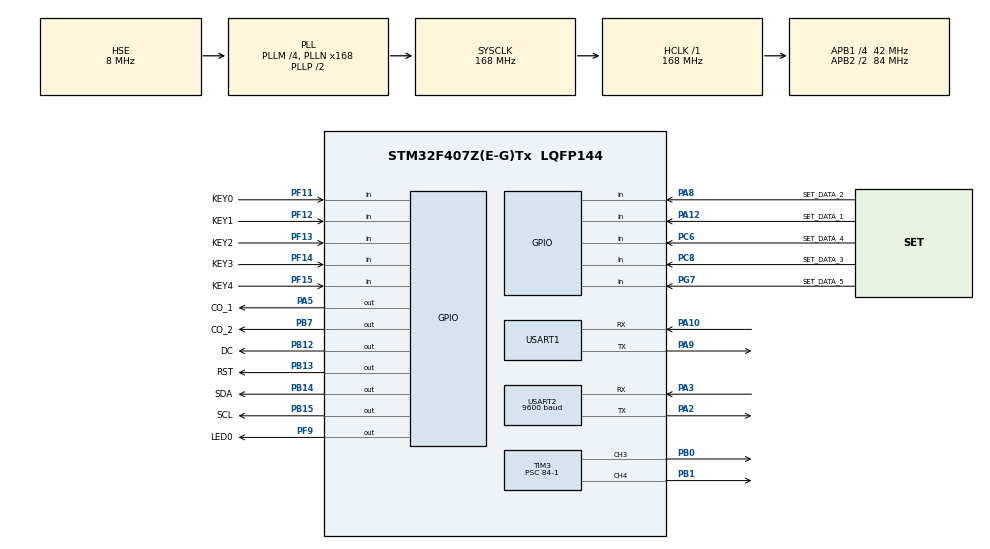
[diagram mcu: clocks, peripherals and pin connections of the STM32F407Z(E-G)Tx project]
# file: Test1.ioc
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Mcu.Family=STM32F4
Mcu.Name=STM32F407Z(E-G)Tx
Mcu.Package=LQFP144
NVIC.PriorityGroup=NVIC_PRIORITYGROUP_4
NVIC.TIM4_IRQn=true\:0\:0\:false\:false\:true\:true\:true
NVIC.TIM8_TRG_COM_TIM14_IRQn=true\:0\:0\:false\:false\:true\:true\:true
NVIC.USART1_IRQn=true\:0\:0\:false\:false\:true\:true\:true
NVIC.USART2_IRQn=true\:0\:0\:false\:false\:true\:true\:true
PA10.Mode=Asynchronous
PA10.Signal=USART1_RX
PA12.GPIO_Label=SET_DATA_1
PA12.GPIO_PuPd=GPIO_PULLUP
PA12.Signal=GPIO_Input
PA13.Mode=Serial_Wire
PA13.Signal=SYS_JTMS-SWDIO
PA14.Mode=Serial_Wire
PA14.Signal=SYS_JTCK-SWCLK
PA2.Mode=Asynchronous
PA2.Signal=USART2_TX
PA3.Mode=Asynchronous
PA3.Signal=USART2_RX
PA5.GPIO_Label=CO_1
PA5.GPIO_PuPd=GPIO_PULLDOWN
PA5.Signal=GPIO_Output
PA8.GPIO_Label=SET_DATA_2
PA8.GPIO_PuPd=GPIO_PULLUP
PA8.Signal=GPIO_Input
PA9.Mode=Asynchronous
PA9.Signal=USART1_TX
PB0.Signal=S_TIM3_CH3
PB1.Signal=S_TIM3_CH4
PB12.GPIO_Label=DC
PB12.GPIO_Speed=GPIO_SPEED_FREQ_HIGH
PB12.Signal=GPIO_Output
PB13.GPIO_Label=RST
PB13.GPIO_Speed=GPIO_SPEED_FREQ_HIGH
PB13.Signal=GPIO_Output
PB14.GPIO_Label=SDA
PB14.GPIO_Speed=GPIO_SPEED_FREQ_HIGH
PB14.Signal=GPIO_Output
PB15.GPIO_Label=SCL
PB15.GPIO_Speed=GPIO_SPEED_FREQ_HIGH
PB15.Signal=GPIO_Output
PB7.GPIO_Label=CO_2
PB7.GPIO_PuPd=GPIO_PULLDOWN
PB7.Signal=GPIO_Output
PC6.GPIO_Label=SET_DATA_4
PC6.GPIO_PuPd=GPIO_PULLUP
PC6.Signal=GPIO_Input
PC8.GPIO_Label=SET_DATA_3
PC8.GPIO_PuPd=GPIO_PULLUP
PC8.Signal=GPIO_Input
PF11.GPIO_Label=KEY0
PF11.GPIO_PuPd=GPIO_PULLUP
PF11.Signal=GPIO_Input
PF12.GPIO_Label=KEY1
PF12.GPIO_PuPd=GPIO_PULLUP
PF12.Signal=GPIO_Input
PF13.GPIO_Label=KEY2
PF13.GPIO_PuPd=GPIO_PULLUP
PF13.Signal=GPIO_Input
PF14.GPIO_Label=KEY3
PF14.GPIO_PuPd=GPIO_PULLUP
PF14.Signal=GPIO_Input
PF15.GPIO_Label=KEY4
PF15.GPIO_PuPd=GPIO_PULLUP
PF15.Signal=GPIO_Input
PF9.GPIO_Label=LED0
PF9.GPIO_PuPd=GPIO_PULLUP
PF9.PinState=GPIO_PIN_SET
PF9.Signal=GPIO_Output
PG7.GPIO_Label=SET_DATA_5
PG7.GPIO_PuPd=GPIO_PULLUP
PG7.Signal=GPIO_Input
PH0-OSC_IN.Mode=HSE-External-Oscillator
PH0-OSC_IN.Signal=RCC_OSC_IN
PH1-OSC_OUT.Mode=HSE-External-Oscillator
PH1-OSC_OUT.Signal=RCC_OSC_OUT
ProjectManager.HeapSize=0x200
ProjectManager.StackSize=0x400
ProjectManager.TargetToolchain=MDK-ARM V5
RCC.48MHZClocksFreq_Value=84000000
RCC.AHBFreq_Value=168000000
RCC.APB1CLKDivider=RCC_HCLK_DIV4
RCC.APB1Freq_Value=42000000
RCC.APB1TimFreq_Value=84000000
RCC.APB2CLKDivider=RCC_HCLK_DIV2
RCC.APB2Freq_Value=84000000
RCC.APB2TimFreq_Value=168000000
RCC.CortexFreq_Value=168000000
RCC.HCLKFreq_Value=168000000
RCC.HSE_VALUE=8000000
RCC.HSI_VALUE=16000000
RCC.LSE_VALUE=32768
RCC.PLLM=4
RCC.PLLN=168
RCC.PLLSourceVirtual=RCC_PLLSOURCE_HSE
RCC.SYSCLKFreq_VALUE=168000000
RCC.SYSCLKSource=RCC_SYSCLKSOURCE_PLLCLK
RCC.VCOOutputFreq_Value=336000000
SH.S_TIM3_CH3.0=TIM3_CH3,PWM Generation3 CH3
SH.S_TIM3_CH4.0=TIM3_CH4,PWM Generation4 CH4
TIM14.Period=1000-1
TIM14.Prescaler=84-1
TIM3.Channel-PWM\ Generation3\ CH3=TIM_CHANNEL_3
TIM3.Channel-PWM\ Generation4\ CH4=TIM_CHANNEL_4
TIM3.Period=20000-1
TIM3.Prescaler=84-1
TIM4.Period=1000
TIM4.Prescaler=8400
USART1.VirtualMode=VM_ASYNC
USART2.BaudRate=9600
USART2.VirtualMode=VM_ASYNC
VP_TIM14_VS_ClockSourceINT.Mode=Enable_Timer
VP_TIM3_VS_ClockSourceINT.Mode=Internal
VP_TIM4_VS_ClockSourceINT.Mode=Internal
board=custom

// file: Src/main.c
/* USER CODE BEGIN Header */
/**
  ******************************************************************************
  * @file           : main.c
  * @brief          : Main program body
  ******************************************************************************
  * @attention
  *
  * <h2><center>&copy; Copyright (c) 2019 STMicroelectronics.
  * All rights reserved.</center></h2>
  *
  * This software component is licensed by ST under BSD 3-Clause license,
  * the "License"; You may not use this file except in compliance with the
  * License. You may obtain a copy of the License at:
  *                        opensource.org/licenses/BSD-3-Clause
  *
  ******************************************************************************
  */
/* USER CODE END Header */

#include "main.h"
#include "tim.h"
#include "usart.h"
#include "gpio.h"

/* USER CODE BEGIN Includes */

#include "APPInteraction.h"
#include "stdio.h"
#include "Control.h"
#include "oled.h"
#include "show.h"
#include "key.h"

/* USER CODE END Includes */

/* USER CODE BEGIN PTD */

//int32_t Position_X,Position_Y;
/* USER CODE END PTD */

void SystemClock_Config(void);

int main(void)
{

  /* MCU Configuration--------------------------------------------------------*/

  /* Reset of all peripherals, Initializes the Flash interface and the Systick. */
  HAL_Init();

  /* Configure the system clock */
  SystemClock_Config();

  /* Initialize all configured peripherals */
  MX_GPIO_Init();
  MX_TIM3_Init();
  MX_TIM4_Init();
  MX_USART1_UART_Init();
  MX_TIM14_Init();
  MX_USART2_UART_Init();
  /* USER CODE BEGIN 2 */
  HAL_UART_Receive_IT(&huart2,(uint8_t *)aRxBuffer2,1);  //使能串口2接收中断，用于Openmv的数据接收
  HAL_TIM_Base_Start_IT(&htim14);  //使能TIM14中断，溢出时间为1ms
  HAL_TIM_PWM_Start(&htim3,TIM_CHANNEL_3);  //开启定时器3、通道3，频率50Hz，产生周期为20ms的脉冲，用于舵机的控制
  HAL_TIM_PWM_Start(&htim3,TIM_CHANNEL_4);  //开启定时器3、通道4，频率50Hz，产生周期为20ms的脉冲，用于舵机的控制
  APPInteractionInit();  //在线调参初始化
  OLED_Init();  //初始化OLED
  /* USER CODE END 2 */

  /* Infinite loop */
  while (1)
  {

    /* USER CODE BEGIN 3 */
      if(Ctrl) //1000Hz，主要用于舵机的控制和角度值的设定
      {
          Ctrl = 0;
          SteeringEngineControl();  //舵机控制
          SetValue();  //按键设值
          set_pitch_yaw_value();  //分别对两个舵机进行赋值

      }
      if(Show)  //100Hz，用于OLED的显示
      {
          Show = 0;
          oled_show();
      }

  }
  /* USER CODE END 3 */
}

void SystemClock_Config(void)
{
  RCC_OscInitTypeDef RCC_OscInitStruct = {0};
  RCC_ClkInitTypeDef RCC_ClkInitStruct = {0};

  /** Configure the main internal regulator output voltage
  */
  __HAL_RCC_PWR_CLK_ENABLE();
  __HAL_PWR_VOLTAGESCALING_CONFIG(PWR_REGULATOR_VOLTAGE_SCALE1);
  /** Initializes the CPU, AHB and APB busses clocks
  */
  RCC_OscInitStruct.OscillatorType = RCC_OSCILLATORTYPE_HSE;
  RCC_OscInitStruct.HSEState = RCC_HSE_ON;
  RCC_OscInitStruct.PLL.PLLState = RCC_PLL_ON;
  RCC_OscInitStruct.PLL.PLLSource = RCC_PLLSOURCE_HSE;
  RCC_OscInitStruct.PLL.PLLM = 4;
  RCC_OscInitStruct.PLL.PLLN = 168;
  RCC_OscInitStruct.PLL.PLLP = RCC_PLLP_DIV2;
  RCC_OscInitStruct.PLL.PLLQ = 4;
  if (HAL_RCC_OscConfig(&RCC_OscInitStruct) != HAL_OK)
  {
    Error_Handler();
  }
  /** Initializes the CPU, AHB and APB busses clocks
  */
  RCC_ClkInitStruct.ClockType = RCC_CLOCKTYPE_HCLK|RCC_CLOCKTYPE_SYSCLK
                              |RCC_CLOCKTYPE_PCLK1|RCC_CLOCKTYPE_PCLK2;
  RCC_ClkInitStruct.SYSCLKSource = RCC_SYSCLKSOURCE_PLLCLK;
  RCC_ClkInitStruct.AHBCLKDivider = RCC_SYSCLK_DIV1;
  RCC_ClkInitStruct.APB1CLKDivider = RCC_HCLK_DIV4;
  RCC_ClkInitStruct.APB2CLKDivider = RCC_HCLK_DIV2;

  if (HAL_RCC_ClockConfig(&RCC_ClkInitStruct, FLASH_LATENCY_5) != HAL_OK)
  {
    Error_Handler();
  }
}

/* USER CODE BEGIN 4 */
void HAL_TIM_PeriodElapsedCallback(TIM_HandleTypeDef *htim)
{
    static uint16_t ms1 = 0, ms10 = 0;
    if (htim->Instance == TIM14)
    {
        ms1++;
        ms10++;
        if(ms1 >= 1) //1000Hz
        {
            ms1 = 0;
            Ctrl = 1;
        }
        if(ms10 >= 10)  //100Hz
        {
            ms10 = 0;
            Show = 1;
        }

    }

}
/* USER CODE END 4 */

void Error_Handler(void)
{
}

/************************ (C) COPYRIGHT STMicroelectronics *****END OF FILE****/
